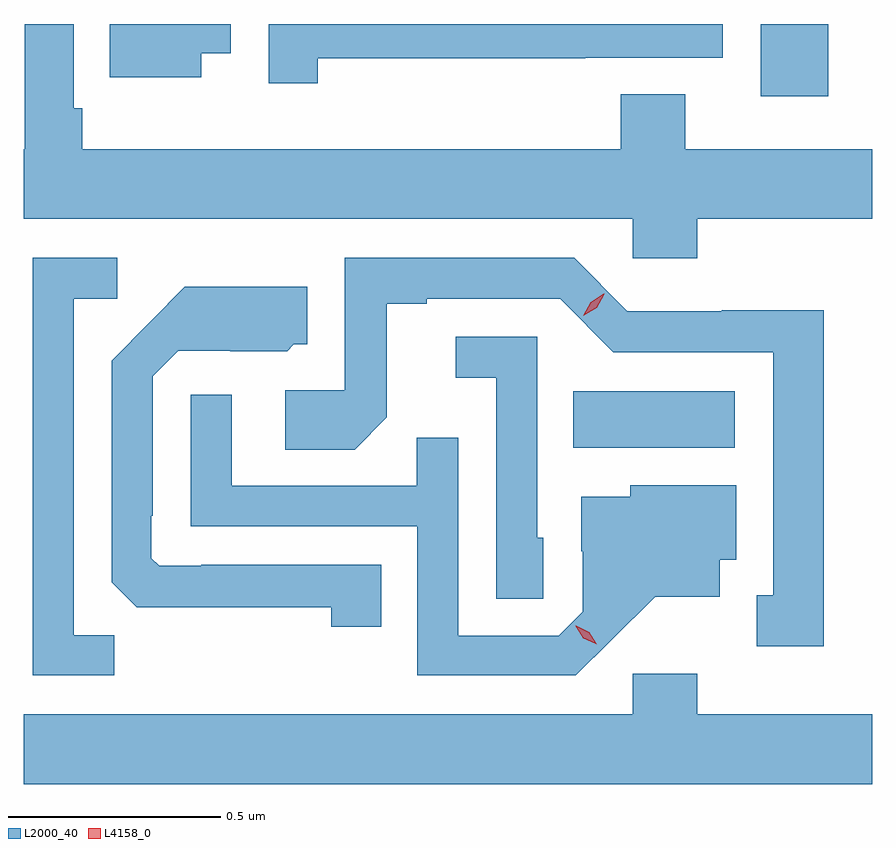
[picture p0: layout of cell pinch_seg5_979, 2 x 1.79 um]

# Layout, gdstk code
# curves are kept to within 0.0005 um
import gdstk
lib = gdstk.Library(unit=1e-6, precision=1e-09)
def R(c, l, rs):  # rectangles x0, y0, x1, y1
    for r in rs: c.add(gdstk.rectangle(r[:2], r[2:], *l))
def P(c, l, *ps):  # polygons
    for p in ps: c.add(gdstk.Polygon(p, *l))
L2000_40 = (2000, 40)
L4158_0 = (4158, 0)

pinch_seg5_979 = lib.new_cell('pinch_seg5_979')
R(pinch_seg5_979, L2000_40, [(701.47,893.516,701.851,893.65), (701.912,894.345,702.071,894.515)])
P(pinch_seg5_979, L2000_40, [(701.762,894.056),(702.175,894.056),(702.175,894.22),(701.734,894.22),(701.734,894.35),(701.582,894.35),(701.582,894.22),(700.313,894.22),(700.313,894.316),(700.293,894.316),(700.293,894.515),(700.177,894.515),(700.177,894.22),(700.175,894.22),(700.175,894.056),(701.61,894.056),(701.61,893.963),(701.762,893.963)],
  [(700.868,894.434),(701.498,894.434),(701.498,894.435),(701.823,894.435),(701.823,894.515),(700.752,894.515),(700.752,894.375),(700.868,894.375)],
  [(700.594,894.446),(700.663,894.446),(700.663,894.515),(700.378,894.515),(700.378,894.389),(700.594,894.389)],
  [(702.061,893.84),(701.82,893.84),(701.82,893.838),(701.598,893.838),(701.472,893.964),(700.932,893.964),(700.932,893.652),(700.791,893.652),(700.791,893.512),(700.955,893.512),(701.031,893.588),(701.031,893.856),(701.125,893.856),(701.125,893.868),(701.439,893.868),(701.565,893.742),(701.942,893.742),(701.942,893.169),(701.903,893.169),(701.903,893.049),(702.061,893.049)],
  [(700.389,893.075),(700.293,893.075),(700.293,893.868),(700.396,893.868),(700.396,893.964),(700.197,893.964),(700.197,892.98),(700.389,892.98)],
  [(701.018,893.241),(700.594,893.241),(700.594,893.238),(700.494,893.238),(700.476,893.256),(700.476,893.356),(700.479,893.356),(700.479,893.685),(700.539,893.745),(700.662,893.745),(700.662,893.744),(700.796,893.744),(700.812,893.76),(700.843,893.76),(700.843,893.896),(700.555,893.896),(700.383,893.722),(700.383,893.2),(700.442,893.141),(700.543,893.141),(700.543,893.14),(700.9,893.14),(700.9,893.094),(701.018,893.094)],
  [(701.4,893.304),(701.385,893.304),(701.385,893.778),(701.193,893.778),(701.193,893.681),(701.289,893.681),(701.289,893.161),(701.4,893.161)],
  [(701.56,893.063),(701.663,893.165),(701.815,893.165),(701.815,893.252),(701.854,893.252),(701.854,893.428),(701.604,893.428),(701.604,893.401),(701.489,893.401),(701.489,893.272),(701.493,893.272),(701.493,893.13),(701.436,893.073),(701.199,893.073),(701.199,893.54),(701.101,893.54),(701.101,893.427),(700.665,893.427),(700.665,893.641),(700.569,893.641),(700.569,893.331),(701.103,893.331),(701.103,892.98),(701.476,892.98)],
  [(702.175,892.888),(701.762,892.888),(701.762,892.984),(701.61,892.984),(701.61,892.888),(700.175,892.888),(700.175,892.724),(702.175,892.724)])
P(pinch_seg5_979, L4158_0, [(701.494,893.827),(701.494,893.827),(701.511,893.859),(701.542,893.879),(701.543,893.879),(701.543,893.878),(701.526,893.846),(701.494,893.827)],
  [(701.525,893.053),(701.494,893.067),(701.476,893.096),(701.476,893.097),(701.477,893.097),(701.508,893.082),(701.526,893.053),(701.526,893.053)])

lib.write_gds('pinch_seg5_979.gds')
